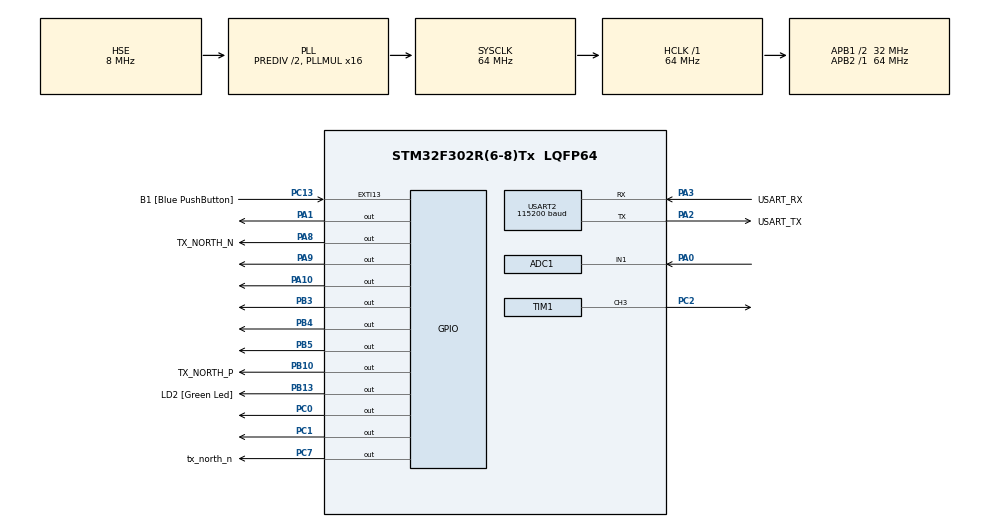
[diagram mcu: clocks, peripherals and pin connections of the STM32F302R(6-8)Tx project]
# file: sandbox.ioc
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ADC1.Channel-2\#ChannelRegularConversion=ADC_CHANNEL_1
ADC1.ContinuousConvMode=DISABLE
ADC1.EnableRegularConversion=ENABLE
ADC1.ExternalTrigConv=ADC_EXTERNALTRIGCONV_T1_TRGO
ADC1.NbrOfConversionFlag=1
ADC1.Offset-2\#ChannelRegularConversion=0
ADC1.OffsetNumber-2\#ChannelRegularConversion=ADC_OFFSET_NONE
ADC1.Rank-2\#ChannelRegularConversion=1
ADC1.SamplingTime-2\#ChannelRegularConversion=ADC_SAMPLETIME_1CYCLE_5
ADC1.SamplingTimeOPAMP-2\#ChannelRegularConversion=ADC_SAMPLETIME_61CYCLES_5
ADC1.SubFamily=STM32F302x8
ADC1.master=1
Dma.ADC1.2.Direction=DMA_PERIPH_TO_MEMORY
Dma.ADC1.2.Instance=DMA1_Channel1
Dma.ADC1.2.MemDataAlignment=DMA_MDATAALIGN_HALFWORD
Dma.ADC1.2.MemInc=DMA_MINC_ENABLE
Dma.ADC1.2.Mode=DMA_NORMAL
Dma.ADC1.2.PeriphDataAlignment=DMA_PDATAALIGN_HALFWORD
Dma.ADC1.2.PeriphInc=DMA_PINC_DISABLE
Dma.ADC1.2.Priority=DMA_PRIORITY_HIGH
Dma.Request0=USART2_RX
Dma.Request1=USART2_TX
Dma.Request2=ADC1
Dma.Request3=TIM2_UP
Dma.Request4=TIM2_CH1
Dma.TIM2_CH1.4.Direction=DMA_MEMORY_TO_PERIPH
Dma.TIM2_CH1.4.Instance=DMA1_Channel5
Dma.TIM2_CH1.4.MemDataAlignment=DMA_MDATAALIGN_WORD
Dma.TIM2_CH1.4.MemInc=DMA_MINC_ENABLE
Dma.TIM2_CH1.4.Mode=DMA_NORMAL
Dma.TIM2_CH1.4.PeriphDataAlignment=DMA_PDATAALIGN_WORD
Dma.TIM2_CH1.4.PeriphInc=DMA_PINC_DISABLE
Dma.TIM2_CH1.4.Priority=DMA_PRIORITY_HIGH
Dma.TIM2_UP.3.Direction=DMA_MEMORY_TO_PERIPH
Dma.TIM2_UP.3.Instance=DMA1_Channel2
Dma.TIM2_UP.3.MemDataAlignment=DMA_MDATAALIGN_WORD
Dma.TIM2_UP.3.MemInc=DMA_MINC_ENABLE
Dma.TIM2_UP.3.Mode=DMA_NORMAL
Dma.TIM2_UP.3.PeriphDataAlignment=DMA_PDATAALIGN_WORD
Dma.TIM2_UP.3.PeriphInc=DMA_PINC_DISABLE
Dma.TIM2_UP.3.Priority=DMA_PRIORITY_HIGH
Dma.USART2_RX.0.Direction=DMA_PERIPH_TO_MEMORY
Dma.USART2_RX.0.Instance=DMA1_Channel6
Dma.USART2_RX.0.MemDataAlignment=DMA_MDATAALIGN_BYTE
Dma.USART2_RX.0.MemInc=DMA_MINC_ENABLE
Dma.USART2_RX.0.Mode=DMA_NORMAL
Dma.USART2_RX.0.PeriphDataAlignment=DMA_PDATAALIGN_BYTE
Dma.USART2_RX.0.PeriphInc=DMA_PINC_DISABLE
Dma.USART2_RX.0.Priority=DMA_PRIORITY_LOW
Dma.USART2_TX.1.Direction=DMA_MEMORY_TO_PERIPH
Dma.USART2_TX.1.Instance=DMA1_Channel7
Dma.USART2_TX.1.MemDataAlignment=DMA_MDATAALIGN_BYTE
Dma.USART2_TX.1.MemInc=DMA_MINC_ENABLE
Dma.USART2_TX.1.Mode=DMA_NORMAL
Dma.USART2_TX.1.PeriphDataAlignment=DMA_PDATAALIGN_BYTE
Dma.USART2_TX.1.PeriphInc=DMA_PINC_DISABLE
Dma.USART2_TX.1.Priority=DMA_PRIORITY_LOW
Mcu.Family=STM32F3
Mcu.Name=STM32F302R(6-8)Tx
Mcu.Package=LQFP64
NVIC.DMA1_Channel1_IRQn=true\:0\:0\:false\:false\:true\:false\:true
NVIC.DMA1_Channel2_IRQn=true\:0\:0\:false\:false\:true\:false\:true
NVIC.DMA1_Channel5_IRQn=true\:0\:0\:false\:false\:true\:false\:true
NVIC.DMA1_Channel6_IRQn=true\:0\:0\:false\:false\:true\:false\:true
NVIC.DMA1_Channel7_IRQn=true\:0\:0\:false\:false\:true\:false\:true
NVIC.PriorityGroup=NVIC_PRIORITYGROUP_0
NVIC.TIM2_IRQn=true\:0\:0\:false\:false\:true\:true\:true
NVIC.USART2_IRQn=true\:0\:0\:false\:false\:true\:true\:true
PA0.Mode=IN1-Single-Ended
PA0.Signal=ADC1_IN1
PA1.GPIO_Speed=GPIO_SPEED_FREQ_HIGH
PA1.Signal=GPIO_Output
PA10.GPIO_PuPd=GPIO_PULLDOWN
PA10.GPIO_Speed=GPIO_SPEED_FREQ_HIGH
PA10.Signal=GPIO_Output
PA13.GPIO_Label=TMS
PA13.Mode=Serial_Wire
PA13.Signal=SYS_JTMS-SWDIO
PA14.GPIO_Label=TCK
PA14.Mode=Serial_Wire
PA14.Signal=SYS_JTCK-SWCLK
PA2.GPIO_Label=USART_TX
PA2.GPIO_Mode=GPIO_MODE_AF_PP
PA2.GPIO_PuPd=GPIO_NOPULL
PA2.GPIO_Speed=GPIO_SPEED_FREQ_LOW
PA2.Mode=Asynchronous
PA2.Signal=USART2_TX
PA3.GPIO_Label=USART_RX
PA3.GPIO_Mode=GPIO_MODE_AF_PP
PA3.GPIO_PuPd=GPIO_NOPULL
PA3.GPIO_Speed=GPIO_SPEED_FREQ_LOW
PA3.Mode=Asynchronous
PA3.Signal=USART2_RX
PA8.GPIO_Label=TX_NORTH_N
PA8.GPIO_PuPd=GPIO_PULLDOWN
PA8.GPIO_Speed=GPIO_SPEED_FREQ_HIGH
PA8.Signal=GPIO_Output
PA9.GPIO_PuPd=GPIO_PULLDOWN
PA9.GPIO_Speed=GPIO_SPEED_FREQ_HIGH
PA9.Signal=GPIO_Output
PB10.GPIO_Label=TX_NORTH_P
PB10.GPIO_PuPd=GPIO_PULLDOWN
PB10.GPIO_Speed=GPIO_SPEED_FREQ_HIGH
PB10.Signal=GPIO_Output
PB13.GPIO_Label=LD2 [Green Led]
PB13.Signal=GPIO_Output
PB3.GPIO_PuPd=GPIO_PULLDOWN
PB3.GPIO_Speed=GPIO_SPEED_FREQ_HIGH
PB3.Signal=GPIO_Output
PB4.GPIO_PuPd=GPIO_PULLDOWN
PB4.GPIO_Speed=GPIO_SPEED_FREQ_HIGH
PB4.Signal=GPIO_Output
PB5.GPIO_PuPd=GPIO_PULLDOWN
PB5.GPIO_Speed=GPIO_SPEED_FREQ_HIGH
PB5.Signal=GPIO_Output
PC0.Signal=GPIO_Output
PC1.GPIO_Speed=GPIO_SPEED_FREQ_HIGH
PC1.Signal=GPIO_Output
PC13.GPIO_Label=B1 [Blue PushButton]
PC13.GPIO_ModeDefaultEXTI=GPIO_MODE_IT_FALLING
PC13.Signal=GPXTI13
PC14\ -\ OSC32_IN.Mode=LSE-External-Oscillator
PC14\ -\ OSC32_IN.Signal=RCC_OSC32_IN
PC15\ -\ OSC32_OUT.Mode=LSE-External-Oscillator
PC15\ -\ OSC32_OUT.Signal=RCC_OSC32_OUT
PC2.Signal=S_TIM1_CH3
PC7.GPIO_Label=tx_north_n
PC7.Signal=GPIO_Output
PF0-OSC_IN.Mode=HSE-External-Clock-Source
PF0-OSC_IN.Signal=RCC_OSC_IN
PF1-OSC_OUT.Signal=RCC_OSC_OUT
ProjectManager.HeapSize=0x200
ProjectManager.StackSize=0x400
ProjectManager.TargetToolchain=STM32CubeIDE
RCC.AHBFreq_Value=64000000
RCC.APB1CLKDivider=RCC_HCLK_DIV2
RCC.APB1Freq_Value=32000000
RCC.APB1TimFreq_Value=64000000
RCC.APB2Freq_Value=64000000
RCC.APB2TimFreq_Value=64000000
RCC.CortexFreq_Value=64000000
RCC.HCLKFreq_Value=64000000
RCC.HSE_VALUE=8000000
RCC.HSI_VALUE=8000000
RCC.PLLM=8
RCC.PLLMUL=RCC_PLL_MUL16
RCC.PLLN=336
RCC.PLLP=RCC_PLLP_DIV4
RCC.PLLQ=7
RCC.PLLSourceVirtual=RCC_PLLSOURCE_HSE
RCC.RCC_PLLsource_Clock_Source_FROM_HSE=RCC_HSE_PREDIV_DIV2
RCC.SYSCLKFreq_VALUE=64000000
RCC.SYSCLKSourceVirtual=RCC_SYSCLKSOURCE_PLLCLK
RCC.USBFreq_Value=64000000
SH.S_TIM1_CH3.0=TIM1_CH3,Output Compare3 CH3
TIM1.Channel-Output\ Compare3\ CH3=TIM_CHANNEL_3
TIM1.Channel-PWM\ Generation1\ No\ Output=TIM_CHANNEL_1
TIM1.OCMode_3=TIM_OCMODE_TOGGLE
TIM1.Period=23
TIM1.Prescaler=0
TIM1.RepetitionCounter=0
TIM1.TIM_MasterOutputTrigger=TIM_TRGO_UPDATE
TIM1.TIM_MasterOutputTrigger2=TIM_TRGO2_RESET
TIM1.TIM_MasterSlaveMode=TIM_MASTERSLAVEMODE_ENABLE
TIM2.Channel-PWM\ Generation1\ No\ Output=TIM_CHANNEL_1
TIM2.Period=399
TIM2.Prescaler=1
TIM2.TIM_MasterSlaveMode=TIM_MASTERSLAVEMODE_DISABLE
USART2.BaudRate=115200
USART2.Parity=PARITY_NONE
USART2.VirtualMode-Asynchronous=VM_ASYNC
VP_TIM1_VS_ClockSourceINT.Mode=Internal
VP_TIM1_VS_ClockSourceITR.Mode=TriggerSource_ITR0
VP_TIM1_VS_no_output1.Mode=PWM Generation1 No Output
VP_TIM2_VS_ClockSourceINT.Mode=Internal
VP_TIM2_VS_ClockSourceITR.Mode=TriggerSource_ITR0
VP_TIM2_VS_ControllerModeTrigger.Mode=Trigger Mode
VP_TIM2_VS_no_output1.Mode=PWM Generation1 No Output
board=NUCLEO-F302R8

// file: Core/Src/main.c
/* USER CODE BEGIN Header */
/**
  ******************************************************************************
  * @file           : main.c
  * @brief          : Main program body
  ******************************************************************************
  * @attention
  *
  * Ultrasonic Anenometer
  * Ben Froelich-Leon
  *
  * This software component is licensed by ST under BSD 3-Clause license,
  * the "License"; You may not use this file except in compliance with the
  * License. You may obtain a copy of the License at:
  *                        opensource.org/licenses/BSD-3-Clause
  *
  ******************************************************************************
  */
/* USER CODE END Header */
#include "main.h"

/* USER CODE BEGIN Includes */
#include <stdio.h>
#include "retarget.h"
#include "anemometer.h"

/* USER CODE END Includes */

/* USER CODE BEGIN PD */
#define RXBUFFERSIZE 10

/* USER CODE END PD */

/* USER CODE BEGIN PM */
#define COUNTOF(__BUFFER__)   (sizeof(__BUFFER__) / sizeof(*(__BUFFER__)))
/* USER CODE END PM */

ADC_HandleTypeDef hadc1;
DMA_HandleTypeDef hdma_adc1;

TIM_HandleTypeDef htim1;
TIM_HandleTypeDef htim2;
DMA_HandleTypeDef hdma_tim2_up;
DMA_HandleTypeDef hdma_tim2_ch1;

UART_HandleTypeDef huart2;
DMA_HandleTypeDef hdma_usart2_rx;
DMA_HandleTypeDef hdma_usart2_tx;

/* USER CODE BEGIN PV */
/* Variables for ADC conversion data computation to physical values */

/* Buffer used for transmission */
uint8_t aTxStartMessage[] = "uart running using DMA\n";
uint8_t aTxEndMessage[] = "done";
/* Buffer used for reception */
uint8_t aRxBuffer[RXBUFFERSIZE];
/* Size of Transmission buffer */
#define TXSTARTMESSAGESIZE               (COUNTOF(aTxStartMessage) - 1)
#define TXENDMESSAGESIZE                 (COUNTOF(aTxEndMessage) - 1)

/* USER CODE END PV */

void SystemClock_Config(void);
static void MX_DMA_Init(void);
static void MX_GPIO_Init(void);
static void MX_USART2_UART_Init(void);
static void MX_ADC1_Init(void);
static void MX_TIM1_Init(void);
static void MX_TIM2_Init(void);

int main(void)
{

  /* MCU Configuration--------------------------------------------------------*/

  /* Reset of all peripherals, Initializes the Flash interface and the Systick. */
  HAL_Init();

  /* Configure the system clock */
  SystemClock_Config();

  /* USER CODE BEGIN SysInit */
  // NOTE: make sure to configure DMA to init first in .ioc file
  // in the .ioc, go to Project Manager -> Advanced Settings
  // then move MX_DMA_Init to the top of the order
  /* USER CODE END SysInit */

  /* Initialize all configured peripherals */
  MX_DMA_Init();
  MX_GPIO_Init();
  MX_USART2_UART_Init();
  MX_ADC1_Init();
  MX_TIM1_Init();
  MX_TIM2_Init();
  /* USER CODE BEGIN 2 */
  RetargetInit(&huart2); // point stdio at uart2
  /* Run the ADC calibration in single-ended mode */
  if (HAL_ADCEx_Calibration_Start(&hadc1, ADC_SINGLE_ENDED) != HAL_OK) Error_Handler();
  while(HAL_IS_BIT_SET(HAL_ADC_GetState(&hadc1), HAL_ADC_STATE_BUSY));
  anemometer_init();
  while(1)
  {
#if 1
anemometer_issue_pulse(NORTH);
while(anemometer_get_state() == ANEMOMETER_BUSY);

#endif
#if 0
	  // take a single sample with polling
      __IO uint32_t adc_result1;
  	  while(HAL_IS_BIT_SET(HAL_ADC_GetState(&hadc1), HAL_ADC_STATE_BUSY));
      // read from ADC
   	  if(HAL_ADC_Start(&hadc1) != HAL_OK) {Error_Handler();}
   	  if(HAL_ADC_PollForConversion(&hadc1, 0xefff) != HAL_OK) {Error_Handler();}
   	  adc_result1 = HAL_ADC_GetValue(&hadc1);
   	  printf("%li\r\n", adc_result1);
#endif

  }

  /* USER CODE END 2 */

  /* Infinite loop */
  /* USER CODE BEGIN WHILE */
  while (1)
  {

#if 0
	  while (HAL_UART_GetState(&huart2) != HAL_UART_STATE_READY) {}

      int n = 10;
      uint32_t adc_result = 0;
      for(int i = 0; i < n; i++)
      {
    	  while(HAL_IS_BIT_SET(HAL_ADC_GetState(&hadc1), HAL_ADC_STATE_BUSY));
          // read from ADC
    	  if(HAL_ADC_Start(&hadc1) != HAL_OK) {Error_Handler();}
    	  if(HAL_ADC_PollForConversion(&hadc1, 0xffff /*TODO*/) != HAL_OK) {Error_Handler();}
          adc_result += HAL_ADC_GetValue(&hadc1);
      }
      adc_result /= n;
      printf("t=%d\r\n", adc_result);
#endif
/*
      // send data to UART
	  if (HAL_UART_Transmit_DMA(&huart2, (uint8_t *)adc_result, sizeof(uint32_t)) != HAL_OK)
	  {
	    Error_Handler();
	  }
	  while (HAL_UART_GetState(&huart2) != HAL_UART_STATE_READY) {}
	  if (HAL_UART_Transmit_DMA(&huart2, (uint8_t *)'\n', 1) != HAL_OK)
	  {
	    Error_Handler();
	  }
	  */
  }
    /* USER CODE END WHILE */

    /* USER CODE BEGIN 3 */
  /*##-5- Wait for the end of the transfer ###################################*/
  /*  Before starting a new communication transfer, you need to check the current
	  state of the peripheral; if it's busy you need to wait for the end of current
	  transfer before starting a new one.
	  For simplicity reasons, this example is just waiting till the end of the
	  transfer, but application may perform other tasks while transfer operation
	  is ongoing. */
  while (HAL_UART_GetState(&huart2) != HAL_UART_STATE_READY)
  {
  }

  /*##-6- Send the End Message ###############################################*/
  if(HAL_UART_Transmit_DMA(&huart2, (uint8_t*)aTxEndMessage, TXENDMESSAGESIZE)!= HAL_OK)
  {
	/* Transfer error in transmission process */
	Error_Handler();
  }

  /*##-7- Wait for the end of the transfer ###################################*/
  while (HAL_UART_GetState(&huart2) != HAL_UART_STATE_READY)
  {
  }
  /* USER CODE END 3 */
}

void SystemClock_Config(void)
{
  RCC_OscInitTypeDef RCC_OscInitStruct = {0};
  RCC_ClkInitTypeDef RCC_ClkInitStruct = {0};
  RCC_PeriphCLKInitTypeDef PeriphClkInit = {0};

  /** Initializes the RCC Oscillators according to the specified parameters
  * in the RCC_OscInitTypeDef structure.
  */
  RCC_OscInitStruct.OscillatorType = RCC_OSCILLATORTYPE_HSE;
  RCC_OscInitStruct.HSEState = RCC_HSE_BYPASS;
  RCC_OscInitStruct.HSEPredivValue = RCC_HSE_PREDIV_DIV2;
  RCC_OscInitStruct.HSIState = RCC_HSI_ON;
  RCC_OscInitStruct.PLL.PLLState = RCC_PLL_ON;
  RCC_OscInitStruct.PLL.PLLSource = RCC_PLLSOURCE_HSE;
  RCC_OscInitStruct.PLL.PLLMUL = RCC_PLL_MUL16;
  if (HAL_RCC_OscConfig(&RCC_OscInitStruct) != HAL_OK)
  {
    Error_Handler();
  }
  /** Initializes the CPU, AHB and APB buses clocks
  */
  RCC_ClkInitStruct.ClockType = RCC_CLOCKTYPE_HCLK|RCC_CLOCKTYPE_SYSCLK
                              |RCC_CLOCKTYPE_PCLK1|RCC_CLOCKTYPE_PCLK2;
  RCC_ClkInitStruct.SYSCLKSource = RCC_SYSCLKSOURCE_PLLCLK;
  RCC_ClkInitStruct.AHBCLKDivider = RCC_SYSCLK_DIV1;
  RCC_ClkInitStruct.APB1CLKDivider = RCC_HCLK_DIV2;
  RCC_ClkInitStruct.APB2CLKDivider = RCC_HCLK_DIV1;

  if (HAL_RCC_ClockConfig(&RCC_ClkInitStruct, FLASH_LATENCY_2) != HAL_OK)
  {
    Error_Handler();
  }
  PeriphClkInit.PeriphClockSelection = RCC_PERIPHCLK_TIM1|RCC_PERIPHCLK_ADC1;
  PeriphClkInit.Tim1ClockSelection = RCC_TIM1CLK_HCLK;
  PeriphClkInit.Adc1ClockSelection = RCC_ADC1PLLCLK_DIV1;

  if (HAL_RCCEx_PeriphCLKConfig(&PeriphClkInit) != HAL_OK)
  {
    Error_Handler();
  }
}

static void MX_ADC1_Init(void)
{

  ADC_ChannelConfTypeDef sConfig = {0};

  /** Common config
  */
  hadc1.Instance = ADC1;
  hadc1.Init.ClockPrescaler = ADC_CLOCK_ASYNC_DIV1;
  hadc1.Init.Resolution = ADC_RESOLUTION_12B;
  hadc1.Init.ScanConvMode = ADC_SCAN_DISABLE;
  hadc1.Init.ContinuousConvMode = DISABLE;
  hadc1.Init.DiscontinuousConvMode = DISABLE;
  hadc1.Init.ExternalTrigConvEdge = ADC_EXTERNALTRIGCONVEDGE_RISING;
  hadc1.Init.ExternalTrigConv = ADC_EXTERNALTRIGCONV_T1_TRGO;
  hadc1.Init.DataAlign = ADC_DATAALIGN_RIGHT;
  hadc1.Init.NbrOfConversion = 1;
  hadc1.Init.DMAContinuousRequests = DISABLE;
  hadc1.Init.EOCSelection = ADC_EOC_SINGLE_CONV;
  hadc1.Init.LowPowerAutoWait = DISABLE;
  hadc1.Init.Overrun = ADC_OVR_DATA_OVERWRITTEN;
  if (HAL_ADC_Init(&hadc1) != HAL_OK)
  {
    Error_Handler();
  }
  /** Configure Regular Channel
  */
  sConfig.Channel = ADC_CHANNEL_1;
  sConfig.Rank = ADC_REGULAR_RANK_1;
  sConfig.SingleDiff = ADC_SINGLE_ENDED;
  sConfig.SamplingTime = ADC_SAMPLETIME_1CYCLE_5;
  sConfig.OffsetNumber = ADC_OFFSET_NONE;
  sConfig.Offset = 0;
  if (HAL_ADC_ConfigChannel(&hadc1, &sConfig) != HAL_OK)
  {
    Error_Handler();
  }

}

static void MX_TIM1_Init(void)
{

  TIM_ClockConfigTypeDef sClockSourceConfig = {0};
  TIM_SlaveConfigTypeDef sSlaveConfig = {0};
  TIM_MasterConfigTypeDef sMasterConfig = {0};
  TIM_OC_InitTypeDef sConfigOC = {0};
  TIM_BreakDeadTimeConfigTypeDef sBreakDeadTimeConfig = {0};

  htim1.Instance = TIM1;
  htim1.Init.Prescaler = 0;
  htim1.Init.CounterMode = TIM_COUNTERMODE_UP;
  htim1.Init.Period = 23;
  htim1.Init.ClockDivision = TIM_CLOCKDIVISION_DIV1;
  htim1.Init.RepetitionCounter = 0;
  htim1.Init.AutoReloadPreload = TIM_AUTORELOAD_PRELOAD_DISABLE;
  if (HAL_TIM_Base_Init(&htim1) != HAL_OK)
  {
    Error_Handler();
  }
  sClockSourceConfig.ClockSource = TIM_CLOCKSOURCE_INTERNAL;
  if (HAL_TIM_ConfigClockSource(&htim1, &sClockSourceConfig) != HAL_OK)
  {
    Error_Handler();
  }
  if (HAL_TIM_PWM_Init(&htim1) != HAL_OK)
  {
    Error_Handler();
  }
  if (HAL_TIM_OC_Init(&htim1) != HAL_OK)
  {
    Error_Handler();
  }
  sSlaveConfig.SlaveMode = TIM_SLAVEMODE_DISABLE;
  sSlaveConfig.InputTrigger = TIM_TS_ITR0;
  if (HAL_TIM_SlaveConfigSynchro(&htim1, &sSlaveConfig) != HAL_OK)
  {
    Error_Handler();
  }
  sMasterConfig.MasterOutputTrigger = TIM_TRGO_UPDATE;
  sMasterConfig.MasterOutputTrigger2 = TIM_TRGO2_RESET;
  sMasterConfig.MasterSlaveMode = TIM_MASTERSLAVEMODE_ENABLE;
  if (HAL_TIMEx_MasterConfigSynchronization(&htim1, &sMasterConfig) != HAL_OK)
  {
    Error_Handler();
  }
  sConfigOC.OCMode = TIM_OCMODE_PWM1;
  sConfigOC.Pulse = 0;
  sConfigOC.OCPolarity = TIM_OCPOLARITY_HIGH;
  sConfigOC.OCNPolarity = TIM_OCNPOLARITY_HIGH;
  sConfigOC.OCFastMode = TIM_OCFAST_DISABLE;
  sConfigOC.OCIdleState = TIM_OCIDLESTATE_RESET;
  sConfigOC.OCNIdleState = TIM_OCNIDLESTATE_RESET;
  if (HAL_TIM_PWM_ConfigChannel(&htim1, &sConfigOC, TIM_CHANNEL_1) != HAL_OK)
  {
    Error_Handler();
  }
  sConfigOC.OCMode = TIM_OCMODE_TOGGLE;
  if (HAL_TIM_OC_ConfigChannel(&htim1, &sConfigOC, TIM_CHANNEL_3) != HAL_OK)
  {
    Error_Handler();
  }
  sBreakDeadTimeConfig.OffStateRunMode = TIM_OSSR_DISABLE;
  sBreakDeadTimeConfig.OffStateIDLEMode = TIM_OSSI_DISABLE;
  sBreakDeadTimeConfig.LockLevel = TIM_LOCKLEVEL_OFF;
  sBreakDeadTimeConfig.DeadTime = 0;
  sBreakDeadTimeConfig.BreakState = TIM_BREAK_DISABLE;
  sBreakDeadTimeConfig.BreakPolarity = TIM_BREAKPOLARITY_HIGH;
  sBreakDeadTimeConfig.BreakFilter = 0;
  sBreakDeadTimeConfig.Break2State = TIM_BREAK2_DISABLE;
  sBreakDeadTimeConfig.Break2Polarity = TIM_BREAK2POLARITY_HIGH;
  sBreakDeadTimeConfig.Break2Filter = 0;
  sBreakDeadTimeConfig.AutomaticOutput = TIM_AUTOMATICOUTPUT_DISABLE;
  if (HAL_TIMEx_ConfigBreakDeadTime(&htim1, &sBreakDeadTimeConfig) != HAL_OK)
  {
    Error_Handler();
  }
  HAL_TIM_MspPostInit(&htim1);

}

static void MX_TIM2_Init(void)
{

  TIM_ClockConfigTypeDef sClockSourceConfig = {0};
  TIM_SlaveConfigTypeDef sSlaveConfig = {0};
  TIM_MasterConfigTypeDef sMasterConfig = {0};
  TIM_OC_InitTypeDef sConfigOC = {0};

  htim2.Instance = TIM2;
  htim2.Init.Prescaler = 1;
  htim2.Init.CounterMode = TIM_COUNTERMODE_UP;
  htim2.Init.Period = 399;
  htim2.Init.ClockDivision = TIM_CLOCKDIVISION_DIV1;
  htim2.Init.AutoReloadPreload = TIM_AUTORELOAD_PRELOAD_DISABLE;
  if (HAL_TIM_Base_Init(&htim2) != HAL_OK)
  {
    Error_Handler();
  }
  sClockSourceConfig.ClockSource = TIM_CLOCKSOURCE_INTERNAL;
  if (HAL_TIM_ConfigClockSource(&htim2, &sClockSourceConfig) != HAL_OK)
  {
    Error_Handler();
  }
  if (HAL_TIM_PWM_Init(&htim2) != HAL_OK)
  {
    Error_Handler();
  }
  sSlaveConfig.SlaveMode = TIM_SLAVEMODE_TRIGGER;
  sSlaveConfig.InputTrigger = TIM_TS_ITR0;
  if (HAL_TIM_SlaveConfigSynchro(&htim2, &sSlaveConfig) != HAL_OK)
  {
    Error_Handler();
  }
  sMasterConfig.MasterOutputTrigger = TIM_TRGO_RESET;
  sMasterConfig.MasterSlaveMode = TIM_MASTERSLAVEMODE_DISABLE;
  if (HAL_TIMEx_MasterConfigSynchronization(&htim2, &sMasterConfig) != HAL_OK)
  {
    Error_Handler();
  }
  sConfigOC.OCMode = TIM_OCMODE_PWM1;
  sConfigOC.Pulse = 0;
  sConfigOC.OCPolarity = TIM_OCPOLARITY_HIGH;
  sConfigOC.OCFastMode = TIM_OCFAST_DISABLE;
  if (HAL_TIM_PWM_ConfigChannel(&htim2, &sConfigOC, TIM_CHANNEL_1) != HAL_OK)
  {
    Error_Handler();
  }

}

static void MX_USART2_UART_Init(void)
{

  huart2.Instance = USART2;
  huart2.Init.BaudRate = 115200;
  huart2.Init.WordLength = UART_WORDLENGTH_8B;
  huart2.Init.StopBits = UART_STOPBITS_1;
  huart2.Init.Parity = UART_PARITY_NONE;
  huart2.Init.Mode = UART_MODE_TX_RX;
  huart2.Init.HwFlowCtl = UART_HWCONTROL_NONE;
  huart2.Init.OverSampling = UART_OVERSAMPLING_16;
  huart2.Init.OneBitSampling = UART_ONE_BIT_SAMPLE_DISABLE;
  huart2.AdvancedInit.AdvFeatureInit = UART_ADVFEATURE_NO_INIT;
  if (HAL_UART_Init(&huart2) != HAL_OK)
  {
    Error_Handler();
  }

}

static void MX_DMA_Init(void)
{

  /* DMA controller clock enable */
  __HAL_RCC_DMA1_CLK_ENABLE();

  /* DMA interrupt init */
  /* DMA1_Channel1_IRQn interrupt configuration */
  HAL_NVIC_SetPriority(DMA1_Channel1_IRQn, 0, 0);
  HAL_NVIC_EnableIRQ(DMA1_Channel1_IRQn);
  /* DMA1_Channel2_IRQn interrupt configuration */
  HAL_NVIC_SetPriority(DMA1_Channel2_IRQn, 0, 0);
  HAL_NVIC_EnableIRQ(DMA1_Channel2_IRQn);
  /* DMA1_Channel5_IRQn interrupt configuration */
  HAL_NVIC_SetPriority(DMA1_Channel5_IRQn, 0, 0);
  HAL_NVIC_EnableIRQ(DMA1_Channel5_IRQn);
  /* DMA1_Channel6_IRQn interrupt configuration */
  HAL_NVIC_SetPriority(DMA1_Channel6_IRQn, 0, 0);
  HAL_NVIC_EnableIRQ(DMA1_Channel6_IRQn);
  /* DMA1_Channel7_IRQn interrupt configuration */
  HAL_NVIC_SetPriority(DMA1_Channel7_IRQn, 0, 0);
  HAL_NVIC_EnableIRQ(DMA1_Channel7_IRQn);

}

static void MX_GPIO_Init(void)
{
  GPIO_InitTypeDef GPIO_InitStruct = {0};

  /* GPIO Ports Clock Enable */
  __HAL_RCC_GPIOC_CLK_ENABLE();
  __HAL_RCC_GPIOF_CLK_ENABLE();
  __HAL_RCC_GPIOA_CLK_ENABLE();
  __HAL_RCC_GPIOB_CLK_ENABLE();

  /*Configure GPIO pin Output Level */
  HAL_GPIO_WritePin(GPIOC, GPIO_PIN_0|GPIO_PIN_1|tx_north_n_Pin, GPIO_PIN_RESET);

  /*Configure GPIO pin Output Level */
  HAL_GPIO_WritePin(GPIOA, GPIO_PIN_1|TX_NORTH_N_Pin|GPIO_PIN_9|GPIO_PIN_10, GPIO_PIN_RESET);

  /*Configure GPIO pin Output Level */
  HAL_GPIO_WritePin(GPIOB, TX_NORTH_P_Pin|LD2_Pin|GPIO_PIN_3|GPIO_PIN_4
                          |GPIO_PIN_5, GPIO_PIN_RESET);

  /*Configure GPIO pin : B1_Pin */
  GPIO_InitStruct.Pin = B1_Pin;
  GPIO_InitStruct.Mode = GPIO_MODE_IT_FALLING;
  GPIO_InitStruct.Pull = GPIO_NOPULL;
  HAL_GPIO_Init(B1_GPIO_Port, &GPIO_InitStruct);

  /*Configure GPIO pins : PC0 tx_north_n_Pin */
  GPIO_InitStruct.Pin = GPIO_PIN_0|tx_north_n_Pin;
  GPIO_InitStruct.Mode = GPIO_MODE_OUTPUT_PP;
  GPIO_InitStruct.Pull = GPIO_NOPULL;
  GPIO_InitStruct.Speed = GPIO_SPEED_FREQ_LOW;
  HAL_GPIO_Init(GPIOC, &GPIO_InitStruct);

  /*Configure GPIO pin : PC1 */
  GPIO_InitStruct.Pin = GPIO_PIN_1;
  GPIO_InitStruct.Mode = GPIO_MODE_OUTPUT_PP;
  GPIO_InitStruct.Pull = GPIO_NOPULL;
  GPIO_InitStruct.Speed = GPIO_SPEED_FREQ_HIGH;
  HAL_GPIO_Init(GPIOC, &GPIO_InitStruct);

  /*Configure GPIO pin : PA1 */
  GPIO_InitStruct.Pin = GPIO_PIN_1;
  GPIO_InitStruct.Mode = GPIO_MODE_OUTPUT_PP;
  GPIO_InitStruct.Pull = GPIO_NOPULL;
  GPIO_InitStruct.Speed = GPIO_SPEED_FREQ_HIGH;
  HAL_GPIO_Init(GPIOA, &GPIO_InitStruct);

  /*Configure GPIO pins : TX_NORTH_P_Pin PB3 PB4 PB5 */
  GPIO_InitStruct.Pin = TX_NORTH_P_Pin|GPIO_PIN_3|GPIO_PIN_4|GPIO_PIN_5;
  GPIO_InitStruct.Mode = GPIO_MODE_OUTPUT_PP;
  GPIO_InitStruct.Pull = GPIO_PULLDOWN;
  GPIO_InitStruct.Speed = GPIO_SPEED_FREQ_HIGH;
  HAL_GPIO_Init(GPIOB, &GPIO_InitStruct);

  /*Configure GPIO pin : LD2_Pin */
  GPIO_InitStruct.Pin = LD2_Pin;
  GPIO_InitStruct.Mode = GPIO_MODE_OUTPUT_PP;
  GPIO_InitStruct.Pull = GPIO_NOPULL;
  GPIO_InitStruct.Speed = GPIO_SPEED_FREQ_LOW;
  HAL_GPIO_Init(LD2_GPIO_Port, &GPIO_InitStruct);

  /*Configure GPIO pins : TX_NORTH_N_Pin PA9 PA10 */
  GPIO_InitStruct.Pin = TX_NORTH_N_Pin|GPIO_PIN_9|GPIO_PIN_10;
  GPIO_InitStruct.Mode = GPIO_MODE_OUTPUT_PP;
  GPIO_InitStruct.Pull = GPIO_PULLDOWN;
  GPIO_InitStruct.Speed = GPIO_SPEED_FREQ_HIGH;
  HAL_GPIO_Init(GPIOA, &GPIO_InitStruct);

}

/* USER CODE BEGIN 4 */

void HAL_ADC_ConvCpltCallback(ADC_HandleTypeDef* hadc)
{
	//HAL_GPIO_TogglePin(GPIOC, GPIO_PIN_0);
}

void HAL_ADC_ErrorCallback(ADC_HandleTypeDef* hadc)
{
    Error_Handler();
}
/**
  * @brief  Tx Transfer completed callback
  * @param  huart: UART handle.
  * @note   This example shows a simple way to report end of DMA Tx transfer, and
  *         you can add your own implementation.
  * @retval None
  */
void HAL_UART_TxCpltCallback(UART_HandleTypeDef *huart)
{
}

/**
  * @brief  Rx Transfer completed callback
  * @param  huart: UART handle
  * @note   This example shows a simple way to report end of DMA Rx transfer, and
  *         you can add your own implementation.
  * @retval None
  */
void HAL_UART_RxCpltCallback(UART_HandleTypeDef *huart)
{
}

/**
  * @brief  UART error callbacks
  * @param  huart: UART handle
  * @note   This example shows a simple way to report transfer error, and you can
  *         add your own implementation.
  * @retval None
  */
void HAL_UART_ErrorCallback(UART_HandleTypeDef *huart)
{
}

/* USER CODE END 4 */

void Error_Handler(void)
{
  __disable_irq();
  while (1)
  {
  }
}
